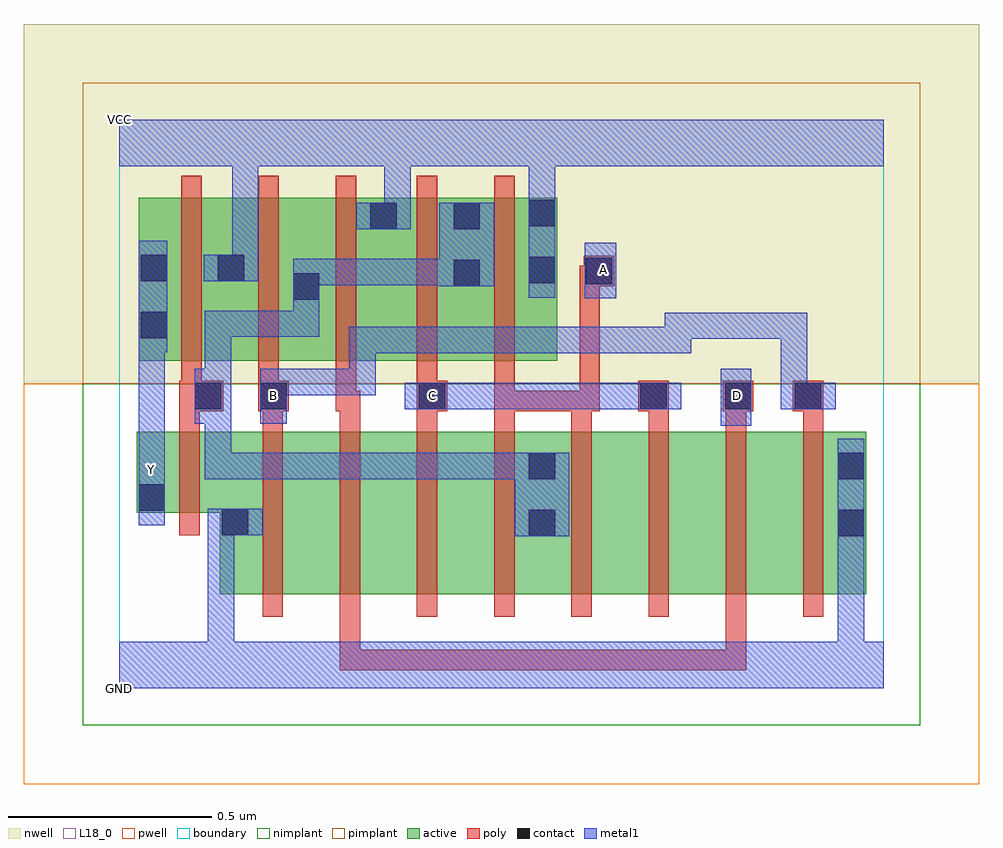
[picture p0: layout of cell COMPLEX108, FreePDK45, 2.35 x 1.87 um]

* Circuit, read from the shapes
.subckt COMPLEX108 A B C D GND VCC Y
M1 GND n1 Y VSUBS nfet w=0.2u l=0.05u
M2 n2 B GND VSUBS nfet w=0.4u l=0.05u
M3 n3 D n2 VSUBS nfet w=0.4u l=0.05u
M4 n4 C n3 VSUBS nfet w=0.4u l=0.05u
M5 n1 A n4 VSUBS nfet w=0.4u l=0.05u
M6 n5 A n1 VSUBS nfet w=0.4u l=0.05u
M7 n6 C n5 VSUBS nfet w=0.4u l=0.05u
M8 n7 D n6 VSUBS nfet w=0.4u l=0.05u
M9 GND B n7 VSUBS nfet w=0.4u l=0.05u
M10 VCC n1 Y n8 pfet w=0.4u l=0.05u
M11 n1 B VCC n8 pfet w=0.4u l=0.05u
M12 VCC D n1 n8 pfet w=0.4u l=0.05u
M13 n1 C VCC n8 pfet w=0.4u l=0.05u
M14 VCC A n1 n8 pfet w=0.4u l=0.05u
.ends

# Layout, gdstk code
import gdstk
lib = gdstk.Library(unit=1e-6, precision=1e-09)
def R(c, l, rs):  # rectangles x0, y0, x1, y1
    for r in rs: c.add(gdstk.rectangle(r[:2], r[2:], *l))
def A(c, l, x, y, w, h, nx, ny, dx, dy):  # array of equal rectangles
    R(c, l, [(x+i*dx, y+j*dy, x+i*dx+w, y+j*dy+h) for i in range(nx) for j in range(ny)])
active = (1, 0)
pwell = (2, 0)
nwell = (3, 0)
nimplant = (4, 0)
pimplant = (5, 0)
poly = (9, 0)
contact = (10, 0)
metal1 = (11, 0)
L18_0 = (18, 0)
boundary = (235, 0)

complex108 = lib.new_cell('COMPLEX108')
R(complex108, active, [(0.247,0.232,0.472,0.632), (0.472,0.232,0.662,0.632), (0.662,0.232,0.852,0.632), (0.852,0.232,1.077,0.632), (1.002,0.232,1.077,0.632), (1.002,0.232,1.232,0.632), (1.232,0.232,1.422,0.632), (1.422,0.232,1.612,0.632), (1.612,0.232,1.837,0.632), (1.762,0.232,1.837,0.632), (0.247,0.372,0.322,0.597), (0.042,0.432,0.322,0.632), (0.042,0.432,0.117,0.632), (0.047,0.807,0.312,1.207), (0.047,0.807,0.122,1.2), (0.237,0.807,0.497,1.207), (0.422,0.807,0.687,1.207), (0.612,0.807,0.892,1.207), (0.817,0.807,1.077,1.207), (1.002,0.807,1.077,1.207), (0.237,0.907,0.312,1.205), (0.422,0.907,0.497,1.2), (0.612,0.907,0.687,1.205), (0.817,0.907,0.892,1.2)])
R(complex108, pwell, [(-0.235,-0.235,2.115,0.75)])
R(complex108, nwell, [(-0.235,0.75,2.115,1.635)])
R(complex108, nimplant, [(-0.09,-0.09,1.97,0.75)])
R(complex108, pimplant, [(-0.09,0.75,1.97,1.49)])
A(complex108, poly, 0.352, 0.177, 0.05, 0.51, 8, 1, 0.19, 0)
A(complex108, poly, 0.352, 0.637, 0.05, 0.095, 8, 1, 0.19, 0)
A(complex108, poly, 0.152, 0.752, 0.05, 0.51, 3, 1, 0.19, 0)
R(complex108, poly, [(0.542,0.045,0.592,0.227), (0.542,0.045,0.592,0.095), (0.542,0.045,0.592,0.095), (0.542,0.045,0.592,0.095), (0.542,0.045,0.725,0.095), (0.675,0.045,0.725,0.095), (0.675,0.045,0.725,0.095), (0.675,0.045,0.725,0.095), (0.675,0.045,1.03,0.095), (0.98,0.045,1.03,0.095), (0.98,0.045,1.03,0.095), (0.98,0.045,1.03,0.095), (0.98,0.045,1.162,0.095), (1.112,0.045,1.162,0.095), (1.112,0.045,1.295,0.095), (1.245,0.045,1.295,0.095), (1.245,0.045,1.295,0.095), (1.245,0.045,1.295,0.095), (1.245,0.045,1.542,0.095), (1.492,0.045,1.542,0.227), (1.492,0.045,1.542,0.095), (1.492,0.045,1.542,0.095), (1.492,0.045,1.542,0.095), (0.147,0.377,0.197,0.687), (0.147,0.637,0.197,0.732), (0.147,0.682,0.255,0.757), (0.342,0.682,0.417,0.757), (0.532,0.682,0.592,0.732), (0.532,0.682,0.582,0.802), (0.732,0.682,0.807,0.757), (0.922,0.682,0.972,0.732), (0.922,0.682,1.162,0.732), (0.922,0.682,0.972,0.802), (1.112,0.682,1.162,0.732), (1.112,0.682,1.162,0.732), (1.112,0.682,1.182,0.732), (1.132,0.682,1.182,1.04), (1.277,0.682,1.352,0.757), (1.485,0.682,1.56,0.757), (1.657,0.682,1.732,0.757), (0.152,0.707,0.202,0.802), (0.342,0.707,0.392,0.802), (0.732,0.707,0.782,0.802), (0.732,0.752,0.782,1.262), (0.922,0.752,0.972,1.262), (1.132,0.99,1.192,1.04), (1.142,0.99,1.217,1.065), (1.142,0.99,1.192,1.04)])
R(complex108, contact, [(1.007,0.375,1.072,0.44), (1.767,0.375,1.832,0.44), (0.252,0.377,0.317,0.442), (0.047,0.437,0.112,0.502), (1.007,0.515,1.072,0.58), (1.767,0.515,1.832,0.58), (0.185,0.687,0.25,0.752), (0.347,0.687,0.412,0.752), (0.737,0.687,0.802,0.752), (1.282,0.687,1.347,0.752), (1.49,0.687,1.555,0.752), (1.662,0.687,1.727,0.752), (0.052,0.862,0.117,0.927), (0.427,0.957,0.492,1.022), (0.822,0.99,0.887,1.055), (1.147,0.995,1.212,1.06), (1.007,0.997,1.072,1.062), (0.052,1.002,0.117,1.067), (0.242,1.002,0.307,1.067), (0.617,1.13,0.682,1.195), (0.822,1.13,0.887,1.195), (1.007,1.137,1.072,1.202)])
R(complex108, metal1, [(0,0,1.88,0.115), (0.217,0.05,0.282,0.442), (1.767,0.05,1.832,0.405), (1.767,0.34,1.832,0.405), (1.767,0.34,1.832,0.405), (1.767,0.34,1.832,0.615), (0.972,0.375,1.107,0.58), (0.217,0.377,0.282,0.442), (0.217,0.377,0.282,0.442), (0.217,0.377,0.352,0.442), (0.047,0.402,0.112,0.537), (0.047,0.472,0.112,0.537), (0.047,0.472,0.112,0.607), (0.21,0.515,0.275,0.58), (0.21,0.515,0.492,0.58), (0.21,0.515,0.275,0.717), (0.427,0.515,0.492,0.58), (0.427,0.515,0.492,0.58), (0.427,0.515,0.492,0.58), (0.427,0.515,0.63,0.58), (0.565,0.515,0.63,0.58), (0.565,0.515,0.63,0.58), (0.565,0.515,0.63,0.58), (0.565,0.515,0.852,0.58), (0.787,0.515,0.852,0.58), (0.787,0.515,0.852,0.58), (0.787,0.515,0.852,0.58), (0.787,0.515,0.99,0.58), (0.925,0.515,0.99,0.58), (0.925,0.515,1.037,0.58), (0.047,0.542,0.112,0.892), (1.48,0.647,1.555,0.787), (0.185,0.652,0.25,0.787), (0.185,0.652,0.275,0.717), (0.21,0.652,0.275,0.717), (0.21,0.652,0.275,0.93), (0.347,0.652,0.412,0.787), (0.702,0.687,0.837,0.752), (0.772,0.687,0.837,0.752), (0.772,0.687,0.837,0.752), (0.772,0.687,1.037,0.752), (0.972,0.687,1.037,0.752), (0.972,0.687,1.037,0.752), (0.972,0.687,1.037,0.752), (0.972,0.687,1.175,0.752), (1.11,0.687,1.175,0.752), (1.11,0.687,1.312,0.752), (1.247,0.687,1.312,0.752), (1.247,0.687,1.312,0.752), (1.247,0.687,1.382,0.752), (1.627,0.687,1.692,0.752), (1.627,0.687,1.692,0.752), (1.627,0.687,1.762,0.752), (1.627,0.687,1.692,0.925), (0.347,0.722,0.412,0.787), (0.347,0.722,0.412,0.787), (0.347,0.722,0.63,0.787), (0.565,0.722,0.63,0.787), (0.565,0.722,0.63,0.787), (0.565,0.722,0.63,0.787), (0.565,0.722,0.63,0.89), (0.565,0.825,0.63,0.89), (0.565,0.825,0.852,0.89), (0.787,0.825,0.852,0.89), (0.787,0.825,0.852,0.89), (0.787,0.825,0.852,0.89), (0.787,0.825,1.037,0.89), (0.972,0.825,1.037,0.89), (0.972,0.825,1.175,0.89), (1.11,0.825,1.175,0.89), (1.11,0.825,1.175,0.89), (1.11,0.825,1.175,0.89), (1.11,0.825,1.407,0.89), (1.342,0.825,1.407,0.89), (1.342,0.825,1.407,0.89), (1.342,0.825,1.407,0.925), (0.047,0.827,0.117,1.102), (1.342,0.86,1.555,0.925), (1.49,0.86,1.555,0.925), (1.49,0.86,1.555,0.925), (1.49,0.86,1.555,0.925), (1.49,0.86,1.692,0.925), (1.627,0.86,1.692,0.925), (0.21,0.865,0.275,0.93), (0.21,0.865,0.492,0.93), (0.427,0.865,0.492,0.987), (0.427,0.922,0.492,0.987), (0.427,0.922,0.492,1.057), (1.145,0.96,1.222,1.097), (1.007,0.962,1.072,1.237), (0.787,0.99,0.922,1.195), (0.427,0.992,0.492,1.057), (0.427,0.992,0.492,1.057), (0.427,0.992,0.63,1.057), (0.565,0.992,0.63,1.057), (0.565,0.992,0.63,1.057), (0.565,0.992,0.63,1.057), (0.565,0.992,0.852,1.057), (0.787,0.992,0.852,1.057), (0.787,0.992,0.852,1.057), (0.207,1.002,0.342,1.067), (0.277,1.002,0.342,1.35), (0.582,1.13,0.717,1.195), (0.652,1.13,0.717,1.35), (1.007,1.172,1.072,1.35), (0,1.285,1.88,1.4)])
R(complex108, L18_0, [(0,0,1.88,0.115), (0.217,0.05,0.282,0.442), (1.767,0.05,1.832,0.405), (1.767,0.34,1.832,0.405), (1.767,0.34,1.832,0.405), (1.767,0.34,1.832,0.615), (0.217,0.377,0.282,0.442), (0.217,0.377,0.282,0.442), (0.217,0.377,0.352,0.442), (0.047,0.402,0.112,0.537), (0.047,0.472,0.112,0.607), (0.047,0.472,0.112,0.537), (0.047,0.507,0.112,0.572), (0.047,0.542,0.112,0.892), (1.48,0.647,1.555,0.787), (0.347,0.652,0.412,0.787), (0.347,0.687,0.412,0.752), (0.702,0.687,0.837,0.752), (0.737,0.687,0.802,0.752), (0.772,0.687,0.837,0.752), (0.772,0.687,0.837,0.752), (0.772,0.687,1.037,0.752), (0.972,0.687,1.037,0.752), (0.972,0.687,1.037,0.752), (0.972,0.687,1.037,0.752), (0.972,0.687,1.175,0.752), (1.11,0.687,1.175,0.752), (1.11,0.687,1.312,0.752), (1.247,0.687,1.312,0.752), (1.247,0.687,1.312,0.752), (1.247,0.687,1.382,0.752), (1.487,0.687,1.552,0.752), (1.627,0.687,1.692,0.752), (1.627,0.687,1.692,0.752), (1.627,0.687,1.762,0.752), (1.627,0.687,1.692,0.925), (0.347,0.722,0.412,0.787), (0.347,0.722,0.412,0.787), (0.347,0.722,0.63,0.787), (0.565,0.722,0.63,0.787), (0.565,0.722,0.63,0.787), (0.565,0.722,0.63,0.787), (0.565,0.722,0.63,0.89), (0.565,0.825,0.63,0.89), (0.565,0.825,0.852,0.89), (0.787,0.825,0.852,0.89), (0.787,0.825,0.852,0.89), (0.787,0.825,0.852,0.89), (0.787,0.825,1.037,0.89), (0.972,0.825,1.037,0.89), (0.972,0.825,1.175,0.89), (1.11,0.825,1.175,0.89), (1.11,0.825,1.175,0.89), (1.11,0.825,1.175,0.89), (1.11,0.825,1.407,0.89), (1.342,0.825,1.407,0.89), (1.342,0.825,1.407,0.89), (1.342,0.825,1.407,0.925), (0.047,0.827,0.117,1.102), (1.342,0.86,1.555,0.925), (1.49,0.86,1.555,0.925), (1.49,0.86,1.555,0.925), (1.49,0.86,1.555,0.925), (1.49,0.86,1.692,0.925), (1.627,0.86,1.692,0.925), (1.145,0.96,1.222,1.097), (1.007,0.962,1.072,1.237), (1.157,0.997,1.222,1.062), (0.207,1.002,0.342,1.067), (0.277,1.002,0.342,1.35), (0.582,1.13,0.717,1.195), (0.652,1.13,0.717,1.35), (1.007,1.172,1.072,1.35), (0,1.285,1.88,1.4)])
R(complex108, boundary, [(0,0,1.88,1.4)])
complex108.add(gdstk.Label('A', (1.19,1.03), layer=11, texttype=0))
complex108.add(gdstk.Label('B', (0.38,0.72), layer=11, texttype=0))
complex108.add(gdstk.Label('C', (0.77,0.72), layer=11, texttype=0))
complex108.add(gdstk.Label('D', (1.52,0.72), layer=11, texttype=0))
complex108.add(gdstk.Label('Y', (0.08,0.54), layer=11, texttype=0))
complex108.add(gdstk.Label('VCC', (0,1.4), layer=11, texttype=0))
complex108.add(gdstk.Label('GND', (0,0), layer=11, texttype=0))

lib.write_gds('COMPLEX108.gds')
